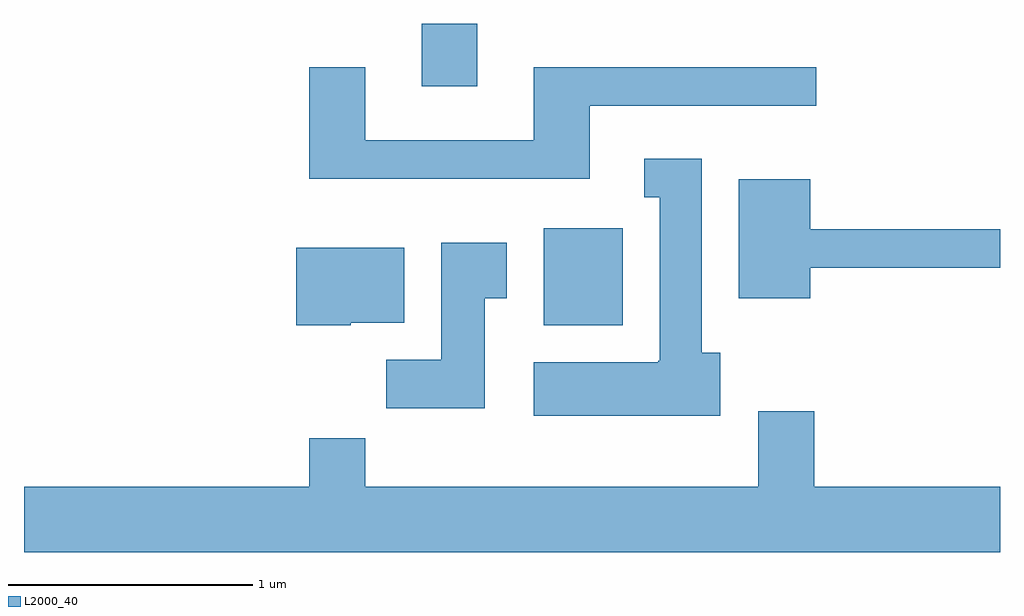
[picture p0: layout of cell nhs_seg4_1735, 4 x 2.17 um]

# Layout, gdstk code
import gdstk
lib = gdstk.Library(unit=1e-6, precision=1e-09)
def R(c, l, rs):  # rectangles x0, y0, x1, y1
    for r in rs: c.add(gdstk.rectangle(r[:2], r[2:], *l))
def P(c, l, *ps):  # polygons
    for p in ps: c.add(gdstk.Polygon(p, *l))
L2000_40 = (2000, 40)

nhs_seg4_1735 = lib.new_cell('nhs_seg4_1735')
R(nhs_seg4_1735, L2000_40, [(237.741,1326.746,238.064,1327.144), (237.241,1327.726,237.469,1327.982)])
P(nhs_seg4_1735, L2000_40, [(237.929,1327.646),(238.858,1327.646),(238.858,1327.804),(237.701,1327.804),(237.701,1327.504),(237.009,1327.504),(237.009,1327.804),(236.781,1327.804),(236.781,1327.346),(237.929,1327.346)],
  [(238.464,1326.634),(238.389,1326.634),(238.389,1327.429),(238.153,1327.429),(238.153,1327.271),(238.216,1327.271),(238.216,1326.6),(238.21,1326.6),(238.21,1326.594),(237.701,1326.594),(237.701,1326.376),(238.464,1326.376)],
  [(238.834,1326.981),(239.611,1326.981),(239.611,1327.139),(238.834,1327.139),(238.834,1327.344),(238.541,1327.344),(238.541,1326.856),(238.834,1326.856)],
  [(237.499,1326.856),(237.589,1326.856),(237.589,1327.084),(237.321,1327.084),(237.321,1326.604),(237.096,1326.604),(237.096,1326.406),(237.499,1326.406)],
  [(236.95,1326.756),(237.169,1326.756),(237.169,1327.064),(236.726,1327.064),(236.726,1326.746),(236.95,1326.746)],
  [(239.611,1326.084),(238.849,1326.084),(238.849,1326.394),(238.621,1326.394),(238.621,1326.084),(237.009,1326.084),(237.009,1326.284),(236.781,1326.284),(236.781,1326.084),(235.611,1326.084),(235.611,1325.816),(239.611,1325.816)])

lib.write_gds('nhs_seg4_1735.gds')
